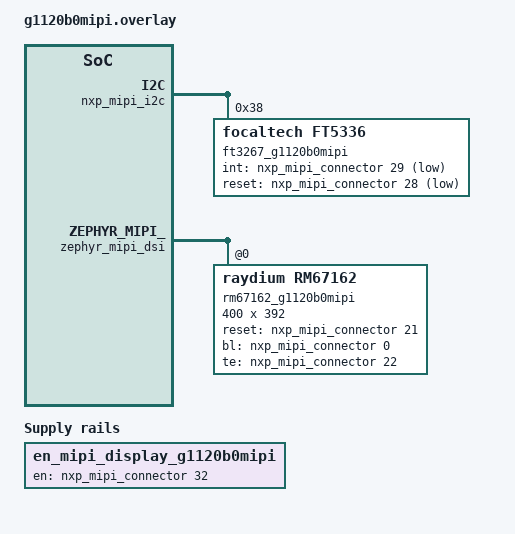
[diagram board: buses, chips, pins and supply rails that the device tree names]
/*
 * Copyright 2023, NXP
 *
 * SPDX-License-Identifier: Apache-2.0
 */

/{
	chosen {
		zephyr,display = &rm67162_g1120b0mipi;
		zephyr,touch = &ft3267_g1120b0mipi;
	};

	en_mipi_display_g1120b0mipi: enable-mipi-display {
		compatible = "regulator-fixed";
		regulator-name = "en_mipi_display";
		enable-gpios = <&nxp_mipi_connector 32 GPIO_ACTIVE_HIGH>;
		regulator-boot-on;
	};

	lvgl_pointer {
		compatible = "zephyr,lvgl-pointer-input";
		input = <&ft3267_g1120b0mipi>;
		invert-y;
	};
};

&nxp_mipi_i2c {
	status = "okay";
	ft3267_g1120b0mipi: ft3267@38 {
		/*
		 * Note- the actual controller present on this IC is a FT3267,
		 * but the FT35336 driver in Zephyr supports this IC.
		 */
		compatible = "focaltech,ft5336";
		reg = <0x38>;
		int-gpios = <&nxp_mipi_connector 29 GPIO_ACTIVE_LOW>;
		reset-gpios = <&nxp_mipi_connector 28 GPIO_ACTIVE_LOW>;
	};
};

&zephyr_mipi_dsi {
	status = "okay";
	autoinsert-eotp;
	phy-clock = <316800000>;
	rm67162_g1120b0mipi: rm67162@0 {
		status = "okay";
		compatible = "raydium,rm67162";
		reg = <0x0>;
		reset-gpios = <&nxp_mipi_connector 21 GPIO_ACTIVE_HIGH>;
		bl-gpios = <&nxp_mipi_connector 0 GPIO_ACTIVE_HIGH>;
		te-gpios = <&nxp_mipi_connector 22 GPIO_ACTIVE_HIGH>;
		data-lanes = <1>;
		width = <400>;
		height = <392>;
		pixel-format = <MIPI_DSI_PIXFMT_RGB565>;
	};
};
